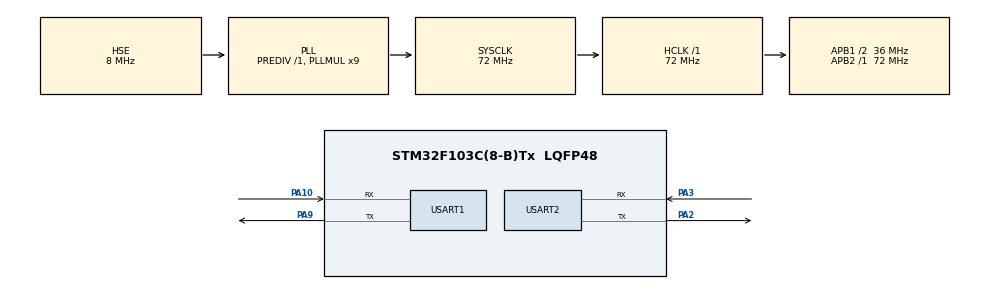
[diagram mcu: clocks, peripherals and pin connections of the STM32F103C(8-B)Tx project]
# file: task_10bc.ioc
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Mcu.Family=STM32F1
Mcu.Name=STM32F103C(8-B)Tx
Mcu.Package=LQFP48
NVIC.PriorityGroup=NVIC_PRIORITYGROUP_4
PA10.Mode=Asynchronous
PA10.Signal=USART1_RX
PA13.Mode=Serial_Wire
PA13.Signal=SYS_JTMS-SWDIO
PA14.Mode=Serial_Wire
PA14.Signal=SYS_JTCK-SWCLK
PA2.Mode=Asynchronous
PA2.Signal=USART2_TX
PA3.Mode=Asynchronous
PA3.Signal=USART2_RX
PA9.Mode=Asynchronous
PA9.Signal=USART1_TX
PD0-OSC_IN.Mode=HSE-External-Oscillator
PD0-OSC_IN.Signal=RCC_OSC_IN
PD1-OSC_OUT.Mode=HSE-External-Oscillator
PD1-OSC_OUT.Signal=RCC_OSC_OUT
ProjectManager.HeapSize=0x200
ProjectManager.StackSize=0x400
ProjectManager.TargetToolchain=MDK-ARM V5.32
RCC.AHBFreq_Value=72000000
RCC.APB1CLKDivider=RCC_HCLK_DIV2
RCC.APB1Freq_Value=36000000
RCC.APB1TimFreq_Value=72000000
RCC.APB2Freq_Value=72000000
RCC.APB2TimFreq_Value=72000000
RCC.HCLKFreq_Value=72000000
RCC.PLLMUL=RCC_PLL_MUL9
RCC.PLLSourceVirtual=RCC_PLLSOURCE_HSE
RCC.SYSCLKFreq_VALUE=72000000
RCC.SYSCLKSource=RCC_SYSCLKSOURCE_PLLCLK
RCC.USBFreq_Value=72000000
USART1.VirtualMode=VM_ASYNC
USART2.VirtualMode=VM_ASYNC
board=custom

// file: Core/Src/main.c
/* USER CODE BEGIN Header */
/**
  ******************************************************************************
  * @file           : main.c
  * @brief          : Main program body
  ******************************************************************************
  * @attention
  *
  * Copyright (c) 2026 STMicroelectronics.
  * All rights reserved.
  *
  * This software is licensed under terms that can be found in the LICENSE file
  * in the root directory of this software component.
  * If no LICENSE file comes with this software, it is provided AS-IS.
  *
  ******************************************************************************
  */
/* USER CODE END Header */
#include "main.h"
#include "string.h"

UART_HandleTypeDef huart1;
UART_HandleTypeDef huart2;

void SystemClock_Config(void);
static void MX_GPIO_Init(void);
static void MX_USART1_UART_Init(void);
static void MX_USART2_UART_Init(void);

/* USER CODE BEGIN 0 */
	uint8_t rx_data[800];
	uint8_t rx_char;
	uint16_t array_index;
	uint8_t cmd1[] = "AT\r\n";
	uint8_t cmd2[] = "AT+CWMODE=1\r\n";
	uint8_t cmd3[] = "AT+CWJAP=\"<SSID>\",\"<PASSWORD>\"\r\n";
	uint8_t cmd4[] = "AT+CIFSR\r\n";
	uint8_t cmd5[] = "AT+CIPMUX=1\r\n";
	uint8_t cmd6[] = "AT+CIPSERVER=1,80\r\n";
	void clear_buffer(void)
	{
			memset(rx_data, 0, sizeof(rx_data));
			array_index = 0;
	}
	void receive_response(void)
	{
			while (1)
			{
					if (HAL_UART_Receive(&huart2, &rx_char, 1, 20000) == HAL_OK)
					{
							if (array_index < 799)
							{
									rx_data[array_index] = rx_char;
									array_index++;
									rx_data[array_index] = '\0';
							}

							HAL_UART_Transmit(&huart1, &rx_char, 1, HAL_MAX_DELAY);

							if (strstr((char *)rx_data, "OK") != NULL)
							{
									break;
							}
							if (strstr((char *)rx_data, "ERROR") != NULL ||
									strstr((char *)rx_data, "FAIL") != NULL)
							{
									break;
							}
					}
					else
					{
							break;
					}
			}
	}
/* USER CODE END 0 */

int main(void)
{

  /* MCU Configuration--------------------------------------------------------*/

  /* Reset of all peripherals, Initializes the Flash interface and the Systick. */
  HAL_Init();

  /* Configure the system clock */
  SystemClock_Config();

  /* Initialize all configured peripherals */
  MX_GPIO_Init();
  MX_USART1_UART_Init();
  MX_USART2_UART_Init();

	HAL_Delay(2000);
	clear_buffer();
	HAL_UART_Transmit(&huart2, cmd1, strlen((char *)cmd1), HAL_MAX_DELAY);
	receive_response();
	clear_buffer();
	HAL_UART_Transmit(&huart2, cmd2, strlen((char *)cmd2), HAL_MAX_DELAY);
	receive_response();
	clear_buffer();
	HAL_UART_Transmit(&huart2, cmd3, strlen((char *)cmd3), HAL_MAX_DELAY);
	receive_response();
	clear_buffer();
	HAL_UART_Transmit(&huart2, cmd4, strlen((char *)cmd4), HAL_MAX_DELAY);
	receive_response();
	clear_buffer();
	HAL_UART_Transmit(&huart2, cmd5, strlen((char *)cmd5), HAL_MAX_DELAY);
	receive_response();
	clear_buffer();
	HAL_UART_Transmit(&huart2, cmd6, strlen((char *)cmd6), HAL_MAX_DELAY);
	receive_response();

  /* Infinite loop */
  /* USER CODE BEGIN WHILE */
  while (1)
  {

		}
  }

void SystemClock_Config(void)
{
  RCC_OscInitTypeDef RCC_OscInitStruct = {0};
  RCC_ClkInitTypeDef RCC_ClkInitStruct = {0};

  /** Initializes the RCC Oscillators according to the specified parameters
  * in the RCC_OscInitTypeDef structure.
  */
  RCC_OscInitStruct.OscillatorType = RCC_OSCILLATORTYPE_HSE;
  RCC_OscInitStruct.HSEState = RCC_HSE_ON;
  RCC_OscInitStruct.HSEPredivValue = RCC_HSE_PREDIV_DIV1;
  RCC_OscInitStruct.HSIState = RCC_HSI_ON;
  RCC_OscInitStruct.PLL.PLLState = RCC_PLL_ON;
  RCC_OscInitStruct.PLL.PLLSource = RCC_PLLSOURCE_HSE;
  RCC_OscInitStruct.PLL.PLLMUL = RCC_PLL_MUL9;
  if (HAL_RCC_OscConfig(&RCC_OscInitStruct) != HAL_OK)
  {
    Error_Handler();
  }

  /** Initializes the CPU, AHB and APB buses clocks
  */
  RCC_ClkInitStruct.ClockType = RCC_CLOCKTYPE_HCLK|RCC_CLOCKTYPE_SYSCLK
                              |RCC_CLOCKTYPE_PCLK1|RCC_CLOCKTYPE_PCLK2;
  RCC_ClkInitStruct.SYSCLKSource = RCC_SYSCLKSOURCE_PLLCLK;
  RCC_ClkInitStruct.AHBCLKDivider = RCC_SYSCLK_DIV1;
  RCC_ClkInitStruct.APB1CLKDivider = RCC_HCLK_DIV2;
  RCC_ClkInitStruct.APB2CLKDivider = RCC_HCLK_DIV1;

  if (HAL_RCC_ClockConfig(&RCC_ClkInitStruct, FLASH_LATENCY_2) != HAL_OK)
  {
    Error_Handler();
  }
}

static void MX_USART1_UART_Init(void)
{

  huart1.Instance = USART1;
  huart1.Init.BaudRate = 115200;
  huart1.Init.WordLength = UART_WORDLENGTH_8B;
  huart1.Init.StopBits = UART_STOPBITS_1;
  huart1.Init.Parity = UART_PARITY_NONE;
  huart1.Init.Mode = UART_MODE_TX_RX;
  huart1.Init.HwFlowCtl = UART_HWCONTROL_NONE;
  huart1.Init.OverSampling = UART_OVERSAMPLING_16;
  if (HAL_UART_Init(&huart1) != HAL_OK)
  {
    Error_Handler();
  }

}

static void MX_USART2_UART_Init(void)
{

  huart2.Instance = USART2;
  huart2.Init.BaudRate = 115200;
  huart2.Init.WordLength = UART_WORDLENGTH_8B;
  huart2.Init.StopBits = UART_STOPBITS_1;
  huart2.Init.Parity = UART_PARITY_NONE;
  huart2.Init.Mode = UART_MODE_TX_RX;
  huart2.Init.HwFlowCtl = UART_HWCONTROL_NONE;
  huart2.Init.OverSampling = UART_OVERSAMPLING_16;
  if (HAL_UART_Init(&huart2) != HAL_OK)
  {
    Error_Handler();
  }

}

static void MX_GPIO_Init(void)
{

  /* GPIO Ports Clock Enable */
  __HAL_RCC_GPIOD_CLK_ENABLE();
  __HAL_RCC_GPIOA_CLK_ENABLE();

}

void Error_Handler(void)
{
  __disable_irq();
  while (1)
  {
  }
}
